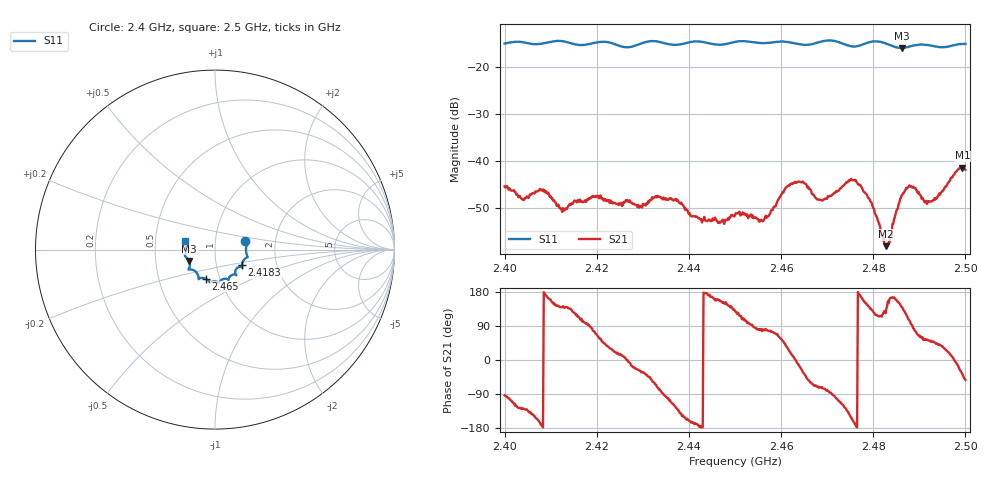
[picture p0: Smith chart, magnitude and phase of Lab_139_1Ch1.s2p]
# Hz S RI R 50
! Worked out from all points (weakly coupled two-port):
!   601 points, 2.4 GHz to 2.5 GHz, reference 50 ohm
!   highest |S21| = -41.39 dB at 2.4993 GHz (marker M1); lowest = -58.0 dB at 2.4827 GHz (marker M2)
!   lowest |S11| = -16.1 dB at 2.4862 GHz (marker M3), VSWR 1.37, Z = 37.1 - j4.8 ohm
!   |S11| at or under -10 dB: start of sweep to end of sweep
!   S12 and S22 are empty: the file has one direction only
!   S11 on the Smith chart (normalised r, x): 2.4 GHz: 1.40, +0.13; 2.4183 GHz: 1.33, -0.24; 2.465 GHz: 0.86, -0.29; 2.5 GHz: 0.71, +0.07
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2.4e9  0.1692 0.0458  -0.000316 -0.00538  0 0  0 0
2.404e9  0.1788 0.0277  -0.00252 -0.00306  0 0  0 0
2.408167e9  0.1743 -0.0178  -0.00487 -0.000425  0 0  0 0
2.4125e9  0.1811 -0.0426  -0.0022 0.00189  0 0  0 0
2.416667e9  0.1547 -0.0679  -0.00121 0.00349  0 0  0 0
2.418333e9  0.1498 -0.0869  -0.000154 0.00405  0 0  0 0
2.433333e9  0.1175 -0.1409  0.00117 -0.00408  0 0  0 0
2.442667e9  0.0734 -0.1678  -0.00244 -6.66e-05  0 0  0 0
2.45e9  0.0252 -0.1808  -0.00171 0.00208  0 0  0 0
2.455833e9  0.00103 -0.1773  0.00056 0.00227  0 0  0 0
2.4615e9  -0.0308 -0.1792  0.00474 0.00267  0 0  0 0
2.465e9  -0.0524 -0.1617  0.00472 -0.00342  0 0  0 0
2.466667e9  -0.0714 -0.1572  0.00212 -0.00398  0 0  0 0
2.476e9  -0.1099 -0.1201  -0.00609 -0.00131  0 0  0 0
2.479667e9  -0.1461 -0.1112  -0.00245 0.00266  0 0  0 0
2.482667e9  -0.1435 -0.1025  -0.000689 0.00105  0 0  0 0
2.483333e9  -0.1416 -0.0964  -0.00119 0.000677  0 0  0 0
2.486167e9  -0.1441 -0.063  -0.00332 0.00282  0 0  0 0
2.488333e9  -0.1591 -0.0443  -0.000265 0.0053  0 0  0 0
2.492667e9  -0.1648 -0.0229  0.00254 0.00279  0 0  0 0
2.499333e9  -0.168 0.0441  0.00677 -0.00518  0 0  0 0
2.5e9  -0.1673 0.047  0.00497 -0.0064  0 0  0 0
